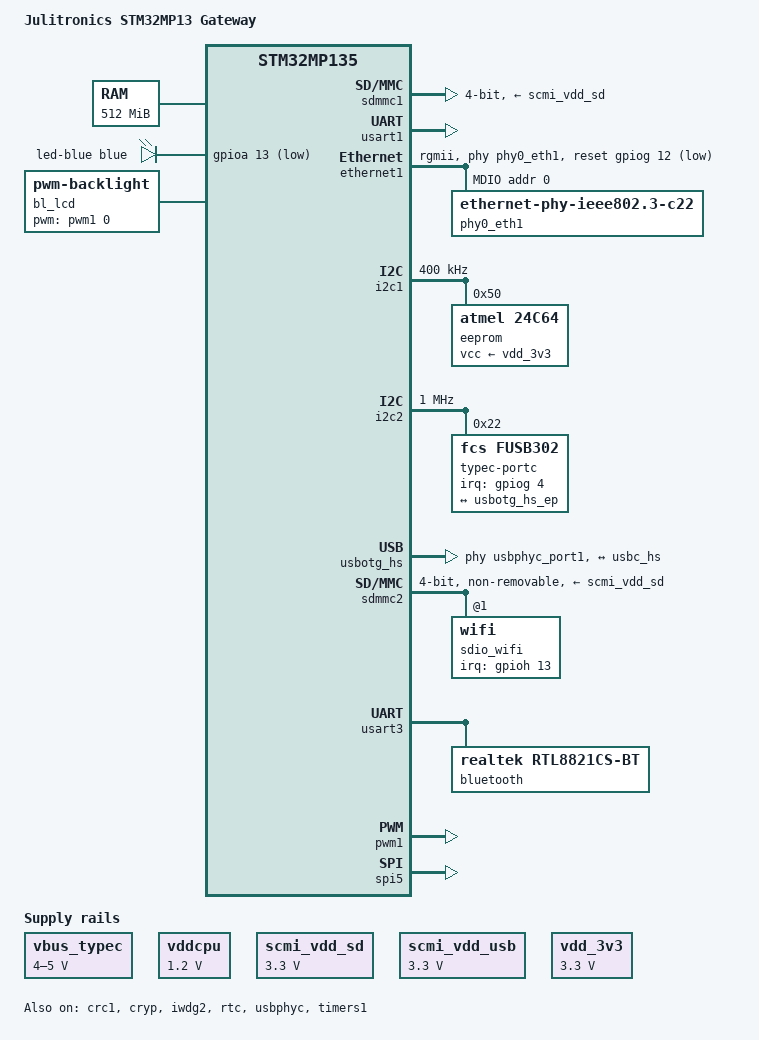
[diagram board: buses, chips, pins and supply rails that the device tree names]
// SPDX-License-Identifier: (GPL-2.0+ OR BSD-3-Clause)
/*
 * Copyright (C) STMicroelectronics 2021 - All Rights Reserved
 * Author: Alexandre Torgue <alexandre.torgue@foss.st.com> for STMicroelectronics.
 */

/dts-v1/;

#include <dt-bindings/gpio/gpio.h>
#include <dt-bindings/input/input.h>
#include <dt-bindings/leds/common.h>
#include <dt-bindings/usb/pd.h>
#include <dt-bindings/regulator/st,stm32mp13-regulator.h>
#include "stm32mp135.dtsi"
#include "stm32mp13xf.dtsi"
#include "stm32mp13-pinctrl.dtsi"


/ {
	model = "Julitronics STM32MP13 Gateway";
	compatible = "juli,stm32mp133_gateway", "st,stm32mp135";

	aliases {
		serial0 = &usart1;
		serial3 = &usart3;
		ethernet0 = &ethernet1;
		ethernet1 = &sdio_wifi;
	};

	chosen {
		stdout-path = "serial0:115200n8";
	};

	memory@c0000000 {
		device_type = "memory";
		reg = <0xc0000000 0x20000000>;
	};

	reserved-memory {
		#address-cells = <1>;
		#size-cells = <1>;
		ranges;

		optee@dd000000 {
			reg = <0xdd000000 0x3000000>;
			no-map;
		};
	};

	leds {
		compatible = "gpio-leds";

		led-blue {
			function = LED_FUNCTION_HEARTBEAT;
			color = <LED_COLOR_ID_BLUE>;
			gpios = <&gpioa 13 GPIO_ACTIVE_LOW>;
			linux,default-trigger = "heartbeat";
			default-state = "off";
		};
	};

    vbus_typec: vbus_typec {
		compatible = "regulator-fixed";
		regulator-name = "vbus_typec";
		regulator-min-microvolt = <4000000>;
		regulator-max-microvolt = <5000000>;
		regulator-always-on;
	};

    vddcpu: vddcpu {
		compatible = "regulator-fixed";
		regulator-name = "vddcpu";
		regulator-min-microvolt = <1200000>;
		regulator-max-microvolt = <1200000>;
		regulator-always-on;
	};

	scmi_vdd_sd: scmi_vdd_sd {
		compatible = "regulator-fixed";
		regulator-name = "scmi_vdd_sd";
		regulator-min-microvolt = <3300000>;
		regulator-max-microvolt = <3300000>;
		regulator-always-on;
	};

    scmi_vdd_usb: scmi_vdd_usb {
		compatible = "regulator-fixed";
		regulator-name = "scmi_vdd_usb";
		regulator-min-microvolt = <3300000>;
		regulator-max-microvolt = <3300000>;
		regulator-always-on;
	};

    vdd_3v3: vdd_3v3 {
		compatible = "regulator-fixed";
		regulator-name = "vdd_3v3";
		regulator-min-microvolt = <3300000>;
		regulator-max-microvolt = <3300000>;
		regulator-always-on;
	};

	bl_lcd: backlight {
		compatible = "pwm-backlight";
		pwms = <&pwm1 0 5000000>;
		pwm-names = "backlight";
	};

};

&crc1 {
	status = "okay";
};

&cryp {
	status = "okay";
};

&iwdg2 {
	timeout-sec = <32>;
	status = "okay";
};

&rtc {
	pinctrl-names = "default";
	pinctrl-0 = <&rtc_rsvd_pins_a>;
	status = "okay";
};

&sdmmc1 {
	pinctrl-names = "default", "opendrain", "sleep";
	pinctrl-0 = <&sdmmc1_b4_pins_a &sdmmc1_clk_pins_a>;
	pinctrl-1 = <&sdmmc1_b4_od_pins_a &sdmmc1_clk_pins_a>;
	pinctrl-2 = <&sdmmc1_b4_sleep_pins_a>;
	disable-wp;
	st,neg-edge;
	bus-width = <4>;
	vmmc-supply = <&scmi_vdd_sd>;
	vqmmc-supply = <&scmi_vdd_sd>;
	status = "okay";
};

&usart1 {
	pinctrl-names = "default", "sleep", "idle";
	pinctrl-0 = <&usart1_pins_b>;
	pinctrl-1 = <&usart1_sleep_pins_b>;
	pinctrl-2 = <&usart1_idle_pins_b>;
	status = "okay";
};

&ethernet1 {
	status = "okay";
	pinctrl-0 = <&eth1_rgmii_pins_a>;
	pinctrl-1 = <&eth1_rgmii_sleep_pins_a>;
	pinctrl-names = "default", "sleep";
	phy-mode = "rgmii";
	phy-handle = <&phy0_eth1>;
	st,eth-clk-sel;

	snps,reset-gpio = <&gpiog 12 GPIO_ACTIVE_LOW>;
	snps,reset-active-low;
	/* Reset time is 20ms, 100ms for rtl8211f */
	snps,reset-delays-us = <0 20000 100000>;

	mdio {
		#address-cells = <1>;
		#size-cells = <0>;
		compatible = "snps,dwmac-mdio";

		phy0_eth1: ethernet-phy@1 {
			compatible = "ethernet-phy-ieee802.3-c22";
			reg = <0>;
			//reset-gpios = <&gpiog 12 GPIO_ACTIVE_LOW>;
			wakeup-source;
		};
	};
};


&i2c1 {
	pinctrl-names = "default", "sleep";
	pinctrl-0 = <&i2c1_pins_a>;
	pinctrl-1 = <&i2c1_sleep_pins_a>;
	i2c-scl-rising-time-ns = <96>;
	i2c-scl-falling-time-ns = <3>;
	clock-frequency = <400000>;
	status = "okay";
	/* spare dmas for other usage */
	/delete-property/dmas;
	/delete-property/dma-names;

	eeprom@50 {
		#address-cells = <1>;
   		#size-cells = <0>;
		compatible = "atmel,24c64";
		vcc-supply = <&vdd_3v3>;
		reg = <0x50>;
		eth0_addr: eth-mac-addr@0{
			reg = <0x0 0x06>;
		};
		eth1_addr: eth-mac-addr@16{
			reg = <0x10 0x06>;
		};
	};
};

/* USB C */
&i2c2 {
	pinctrl-names = "default", "sleep";
	pinctrl-0 = <&i2c2_pins_a>;
	pinctrl-1 = <&i2c2_sleep_pins_a>;
	i2c-scl-rising-time-ns = <96>;
	i2c-scl-falling-time-ns = <3>;
	clock-frequency = <1000000>;
	status = "okay";
	/* spare dmas for other usage */
	/delete-property/dmas;
	/delete-property/dma-names;

	typec-portc@22 {
        compatible = "fcs,fusb302";
        reg = <0x22>;
        interrupts = <4 IRQ_TYPE_EDGE_FALLING>;
		interrupt-parent = <&gpiog>;
		pinctrl-names = "default";
		pinctrl-0 = <&fusb302_int>;
        //vbus-supply = <&vbus_typec>;

        connector {
          compatible = "usb-c-connector";
          label = "USB-C";
          power-role = "sink";
          try-power-role = "sink";
          sink-pdos = <PDO_FIXED(5000, 1000, PDO_FIXED_USB_COMM)
                       PDO_VAR(4000, 5000, 1000)
                       PDO_PPS_APDO(4000, 5000, 1000)>;
          op-sink-microwatt = <5000000>;

		  ports {
				#address-cells = <1>;
				#size-cells = <0>;

				port@0 {
					reg = <0>;
					usbc_hs: endpoint {
						remote-endpoint =
							<&usbotg_hs_ep>;
					};
				};
			};
        };
      };
};

&usbotg_hs {
	phys = <&usbphyc_port1 0>;
	phy-names = "usb2-phy";
	usb-role-switch;
	// dr_mode = "peripheral"; If not automatically
	status = "okay";
	port {
		usbotg_hs_ep: endpoint {
			remote-endpoint = <&usbc_hs>;
		};
	};
};

&usbphyc {
	status = "okay";
};

&usbphyc_port0 {
	phy-supply = <&scmi_vdd_usb>;
	st,current-boost-microamp = <1000>;
	st,decrease-hs-slew-rate;
	st,tune-hs-dc-level = <2>;
	st,enable-hs-rftime-reduction;
	st,trim-hs-current = <11>;
	st,trim-hs-impedance = <2>;
	st,tune-squelch-level = <1>;
	st,enable-hs-rx-gain-eq;
	st,no-hs-ftime-ctrl;
	st,no-lsfs-sc;
};

&usbphyc_port1 {
	phy-supply = <&scmi_vdd_usb>;
	st,current-boost-microamp = <1000>;
	st,decrease-hs-slew-rate;
	st,tune-hs-dc-level = <2>;
	st,enable-hs-rftime-reduction;
	st,trim-hs-current = <11>;
	st,trim-hs-impedance = <2>;
	st,tune-squelch-level = <1>;
	st,enable-hs-rx-gain-eq;
	st,no-hs-ftime-ctrl;
	st,no-lsfs-sc;
};

/* Wifi */
&sdmmc2 {
	pinctrl-names = "default", "opendrain", "sleep";
	pinctrl-0 = <&sdmmc2_b4_pins_a &sdmmc2_clk_pins_a>;
	pinctrl-1 = <&sdmmc2_b4_od_pins_a &sdmmc2_clk_pins_a>;
	pinctrl-2 = <&sdmmc2_b4_sleep_pins_a>;
	non-removable;
	cap-sdio-irq;
	st,neg-edge;
	bus-width = <4>;
	vmmc-supply = <&scmi_vdd_sd>;
	#address-cells = <1>;
	#size-cells = <0>;
	status = "okay";

	sdio_wifi: wifi@1 {
		reg = <1>;
       	interrupts = <13 IRQ_TYPE_EDGE_FALLING>;
		interrupt-parent = <&gpioh>;
		pinctrl-names = "default";
		pinctrl-0 = <&wifi_int>;
		interrupt-names = "host-wake";
	};
};

/* Bluetooth RTL8723bs */
&usart3 {
	pinctrl-names = "default", "sleep", "idle";
	pinctrl-0 = <&usart3_pins_b>;
	pinctrl-1 = <&usart3_sleep_pins_b>;
	pinctrl-2 = <&usart3_idle_pins_b>;
	uart-has-rtscts;
	status = "okay";

	bluetooth {
		compatible = "realtek,rtl8821cs-bt", "realtek,rtl8723bs-bt";
	};
};

/* Display */
&timers1 {
	/delete-property/dmas;
	/delete-property/dma-names;
	status = "okay";
	counter {
		status = "okay";
	};

	timer@0 {
		status = "okay";
	};
};

&pwm1 {
	/* PWM output on pin 7 of the expansion connector (CN8.7) using TIM3_CH4 func */
	pinctrl-0 = <&bl_pwm_pins>;
	pinctrl-names = "default";
	status = "okay";
};

&spi5 {
	pinctrl-names = "default";
	pinctrl-0 = <&spi5_pins_a>;
	num-cs = <1>;
	cs-gpios = <&gpiof 6 GPIO_ACTIVE_HIGH>;
	status = "okay";

	panel@0 {
		compatible = "sitronix,st7789v";
		reg = <0>;
		//pinctrl-names = "default";
		//pinctrl-0 = <&lcd_pins>;
		reset-gpios = <&gpioh 11 GPIO_ACTIVE_LOW>;
		dc-gpios = <&gpiog 5 GPIO_ACTIVE_HIGH>;
		backlight = <&bl_lcd>;
		spi-max-frequency = <15000000>;
		spi-cs-high;
		status = "disabled";
	};
};
